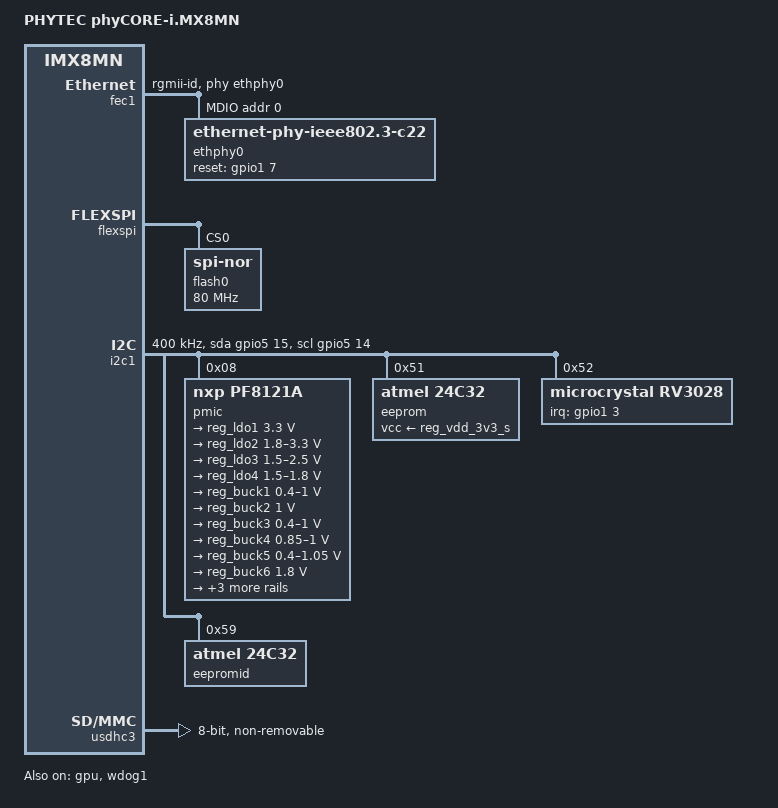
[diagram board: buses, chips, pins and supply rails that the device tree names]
// SPDX-License-Identifier: GPL-2.0
/*
 * Copyright (C) 2020 PHYTEC Messtechnik GmbH
 * Author: Teresa Remmet <t.remmet@phytec.de>
 */

#include "imx8mn.dtsi"
#include <dt-bindings/net/ti-dp83867.h>

/ {
	model = "PHYTEC phyCORE-i.MX8MN";
	compatible = "phytec,imx8mn-phycore-som", "fsl,imx8mn";

	aliases {
		rtc0 = &rv3028;
		rtc1 = &snvs_rtc;
	};

	chosen {
		stdout-path = &uart3;
	};

	rtcclkout: rv3028-clkout {
		compatible = "fixed-clock";
		clock-frequency = <32768>;
		#clock-cells = <0>;
		status = "disabled";
	};
};

&A53_0 {
	cpu-supply = <&reg_buck5>;
};

&A53_1 {
	cpu-supply = <&reg_buck5>;
};

&A53_2 {
	cpu-supply = <&reg_buck5>;
};

&A53_3 {
	cpu-supply = <&reg_buck5>;
};

/* Ethernet */
&fec1 {
	fsl,magic-packet;
	phy-mode = "rgmii-id";
	phy-handle = <&ethphy0>;
	pinctrl-names = "default";
	pinctrl-0 = <&pinctrl_fec1>;
	status = "okay";

	mdio {
		#address-cells = <1>;
		#size-cells = <0>;

		ethphy0: ethernet-phy@0 {
			compatible = "ethernet-phy-ieee802.3-c22";
			enet-phy-lane-no-swap;
			ti,clk-output-sel = <DP83867_CLK_O_SEL_OFF>;
			ti,fifo-depth = <DP83867_PHYCR_FIFO_DEPTH_4_B_NIB>;
			ti,rx-internal-delay = <DP83867_RGMIIDCTL_2_00_NS>;
			ti,tx-internal-delay = <DP83867_RGMIIDCTL_2_00_NS>;
			reg = <0>;
			reset-assert-us = <1000>;
			reset-deassert-us = <1000>;
			reset-gpios = <&gpio1 7 GPIO_ACTIVE_HIGH>;
		};
	};
};

/* SPI Flash */
&flexspi {
	pinctrl-names = "default";
	pinctrl-0 = <&pinctrl_flexspi0>;
	status = "okay";

	flash0: norflash@0 {
		compatible = "jedec,spi-nor";
		reg = <0>;
		spi-max-frequency = <80000000>;
		spi-rx-bus-width = <4>;
		spi-tx-bus-width = <1>;
		#address-cells = <1>;
		#size-cells = <1>;
	};
};

/* GPU */
&gpu {
	status = "okay";
};

/* I2C1 */
&i2c1 {
	clock-frequency = <400000>;
	pinctrl-names = "default", "gpio";
	pinctrl-0 = <&pinctrl_i2c1>;
	pinctrl-1 = <&pinctrl_i2c1_gpio>;
	scl-gpios = <&gpio5 14 (GPIO_ACTIVE_HIGH | GPIO_OPEN_DRAIN)>;
	sda-gpios = <&gpio5 15 (GPIO_ACTIVE_HIGH | GPIO_OPEN_DRAIN)>;
	status = "okay";

	pmic@8 {
		compatible = "nxp,pf8121a";
		reg = <0x08>;

		regulators {
			reg_ldo1: ldo1 {
				regulator-always-on;
				regulator-boot-on;
				regulator-max-microvolt = <3300000>;
				regulator-min-microvolt = <3300000>;
				regulator-name = "NVCC_SD1";

				regulator-state-mem {
					regulator-on-in-suspend;
				};
			};

			reg_ldo2: ldo2 {
				regulator-always-on;
				regulator-boot-on;
				regulator-max-microvolt = <3300000>;
				regulator-min-microvolt = <1800000>;
				regulator-name = "NVCC_SD2";
				vselect-en;

				regulator-state-mem {
					regulator-off-in-suspend;
				};
			};

			reg_ldo3: ldo3 {
				regulator-always-on;
				regulator-boot-on;
				regulator-max-microvolt = <2500000>;
				regulator-min-microvolt = <1500000>;
				regulator-name = "VCC_ENET_2V5";

				regulator-state-mem {
					regulator-off-in-suspend;
				};
			};

			reg_ldo4: ldo4 {
				regulator-always-on;
				regulator-boot-on;
				regulator-max-microvolt = <1800000>;
				regulator-min-microvolt = <1500000>;
				regulator-name = "VDDA_1V8";

				regulator-state-mem {
					regulator-on-in-suspend;
					regulator-suspend-max-microvolt = <1500000>;
					regulator-suspend-min-microvolt = <1500000>;
				};
			};

			reg_buck1: buck1 {
				regulator-always-on;
				regulator-boot-on;
				regulator-max-microvolt = <1000000>;
				regulator-min-microvolt = <400000>;
				regulator-name = "VDD_SOC_VDDA_PHY_0P8";

				regulator-state-mem {
					regulator-on-in-suspend;
					regulator-suspend-max-microvolt = <400000>;
					regulator-suspend-min-microvolt = <400000>;
				};
			};

			reg_buck2: buck2 {
				regulator-always-on;
				regulator-boot-on;
				regulator-max-microvolt = <1000000>;
				regulator-min-microvolt = <1000000>;
				regulator-name = "VDD_GPU_DRAM";

				regulator-state-mem {
					regulator-on-in-suspend;
					regulator-suspend-max-microvolt = <1000000>;
					regulator-suspend-min-microvolt = <1000000>;
				};
			};

			reg_buck3: buck3 {
				regulator-name = "VDD_VPU_dummy";
				regulator-max-microvolt = <1000000>;
				regulator-min-microvolt = <400000>;

				regulator-state-mem {
					regulator-off-in-suspend;
				};
			};

			reg_buck4: buck4 {
				regulator-always-on;
				regulator-boot-on;
				regulator-max-microvolt = <1000000>;
				regulator-min-microvolt = <850000>;
				regulator-name = "VDD_MIPI_0P8";

				regulator-state-mem {
					regulator-off-in-suspend;
				};
			};

			reg_buck5: buck5 {
				regulator-always-on;
				regulator-boot-on;
				regulator-max-microvolt = <1050000>;
				regulator-min-microvolt = <400000>;
				regulator-name = "VDD_ARM";

				regulator-state-mem {
					regulator-off-in-suspend;
				};
			};

			reg_buck6: buck6 {
				regulator-always-on;
				regulator-boot-on;
				regulator-max-microvolt = <1800000>;
				regulator-min-microvolt = <1800000>;
				regulator-name = "VDD_1V8";

				regulator-state-mem {
					regulator-on-in-suspend;
					regulator-suspend-max-microvolt = <1800000>;
					regulator-suspend-min-microvolt = <1800000>;
				};
			};

			reg_buck7: buck7 {
				regulator-always-on;
				regulator-boot-on;
				regulator-max-microvolt = <1100000>;
				regulator-min-microvolt = <1100000>;
				regulator-name = "NVCC_DRAM_1P1V";
			};

			reg_vsnvs: vsnvs {
				regulator-always-on;
				regulator-boot-on;
				regulator-max-microvolt = <1800000>;
				regulator-min-microvolt = <1800000>;
				regulator-name = "NVCC_SNVS_1P8";
			};

			reg_vdd_3v3_s: regulator-vdd-3v3-s {
				compatible = "regulator-fixed";
				regulator-always-on;
				regulator-boot-on;
				regulator-max-microvolt = <3300000>;
				regulator-min-microvolt = <3300000>;
				regulator-name = "VDD_3V3_S";
			};
		};
	};

	/* EEPROM */
	eeprom@51 {
		compatible = "atmel,24c32";
		pagesize = <32>;
		reg = <0x51>;
		vcc-supply = <&reg_vdd_3v3_s>;
	};

	/* RTC */
	rv3028: rtc@52 {
		compatible = "microcrystal,rv3028";
		clocks = <&rtcclkout>;
		clock-output-names = "rv3028-clkout";
		interrupts = <3 IRQ_TYPE_LEVEL_LOW>;
		interrupt-parent = <&gpio1>;
		pinctrl-names = "default";
		pinctrl-0 = <&pinctrl_rtc>;
		reg = <0x52>;
		wakeup-source;
	};

	/* EEPROM ID page */
	eepromid@59 {
		compatible = "atmel,24c32";
		pagesize = <32>;
		reg = <0x59>;
		size = <32>;
	};

	i2c1_sn65dsi83: mipitolvds@2d {
		compatible = "ti,sn65dsi83";
		enable-gpios = <&gpio1 10 GPIO_ACTIVE_LOW>;
		pinctrl-names = "default";
		pinctrl-0 = <&pinctrl_sn65dsi83>;
		reg = <0x2d>;
		status = "disabled";

		sn65dsi83_ports: ports {
		       /*
			* Setup is carrier board dependent please checkout
			* overlays/imx8mn-phyboard-polis-peb-av-010.dtbo
			* as an example.
			*/
		};
	};
};

/* eMMC */
&usdhc3 {
	assigned-clocks = <&clk IMX8MN_CLK_USDHC3_ROOT>;
	assigned-clock-rates = <400000000>;
	bus-width = <8>;
	non-removable;
	pinctrl-names = "default", "state_100mhz", "state_200mhz";
	pinctrl-0 = <&pinctrl_usdhc3>;
	pinctrl-1 = <&pinctrl_usdhc3_100mhz>;
	pinctrl-2 = <&pinctrl_usdhc3_200mhz>;
	status = "okay";
};

/* Watchdog */
&wdog1 {
	fsl,ext-reset-output;
	pinctrl-names = "default";
	pinctrl-0 = <&pinctrl_wdog>;
	status = "okay";
};

&iomuxc {
	pinctrl_fec1: fec1grp {
		fsl,pins = <
			MX8MN_IOMUXC_ENET_MDC_ENET1_MDC			0x2
			MX8MN_IOMUXC_ENET_MDIO_ENET1_MDIO		0x2
			MX8MN_IOMUXC_ENET_RD0_ENET1_RGMII_RD0		0x90
			MX8MN_IOMUXC_ENET_RD1_ENET1_RGMII_RD1		0x90
			MX8MN_IOMUXC_ENET_RD2_ENET1_RGMII_RD2		0x90
			MX8MN_IOMUXC_ENET_RD3_ENET1_RGMII_RD3		0x90
			MX8MN_IOMUXC_ENET_RXC_ENET1_RGMII_RXC		0x90
			MX8MN_IOMUXC_ENET_RX_CTL_ENET1_RGMII_RX_CTL	0x90
			MX8MN_IOMUXC_ENET_TD0_ENET1_RGMII_TD0		0x16
			MX8MN_IOMUXC_ENET_TD1_ENET1_RGMII_TD1		0x16
			MX8MN_IOMUXC_ENET_TD2_ENET1_RGMII_TD2		0x16
			MX8MN_IOMUXC_ENET_TD3_ENET1_RGMII_TD3		0x16
			MX8MN_IOMUXC_ENET_TXC_ENET1_RGMII_TXC		0x16
			MX8MN_IOMUXC_ENET_TX_CTL_ENET1_RGMII_TX_CTL	0x16
			MX8MN_IOMUXC_GPIO1_IO07_GPIO1_IO7		0x10
		>;
	};

	pinctrl_flexspi0: flexspi0grp {
		fsl,pins = <
			MX8MN_IOMUXC_NAND_ALE_QSPI_A_SCLK		0x1c2
			MX8MN_IOMUXC_NAND_CE0_B_QSPI_A_SS0_B		0x82
			MX8MN_IOMUXC_NAND_DATA00_QSPI_A_DATA0		0x82
			MX8MN_IOMUXC_NAND_DATA01_QSPI_A_DATA1		0x82
			MX8MN_IOMUXC_NAND_DATA02_QSPI_A_DATA2		0x82
			MX8MN_IOMUXC_NAND_DATA03_QSPI_A_DATA3		0x82
		>;
	};

	pinctrl_i2c1: i2c1grp {
		fsl,pins = <
			MX8MN_IOMUXC_I2C1_SDA_I2C1_SDA			0x400001c0
			MX8MN_IOMUXC_I2C1_SCL_I2C1_SCL			0x400001c0
		>;
	};

	pinctrl_i2c1_gpio: i2c1gpiogrp {
		fsl,pins = <
			MX8MN_IOMUXC_I2C1_SDA_GPIO5_IO15		0x1c0
			MX8MN_IOMUXC_I2C1_SCL_GPIO5_IO14		0x1c0
		>;
	};

	pinctrl_rtc: rtcgrp {
		fsl,pins = <
			MX8MN_IOMUXC_GPIO1_IO03_GPIO1_IO3		0x1C0
		>;
	};

	pinctrl_sn65dsi83: sn65dsi83grp {
		fsl,pins = <
			MX8MN_IOMUXC_GPIO1_IO10_GPIO1_IO10		0x0
		>;
	};

	pinctrl_usdhc3: usdhc3grp {
		fsl,pins = <
			MX8MN_IOMUXC_NAND_CLE_USDHC3_DATA7		0x1d0
			MX8MN_IOMUXC_NAND_CE1_B_USDHC3_STROBE		0x190
			MX8MN_IOMUXC_NAND_CE2_B_USDHC3_DATA5		0x1d0
			MX8MN_IOMUXC_NAND_CE3_B_USDHC3_DATA6		0x1d0
			MX8MN_IOMUXC_NAND_DATA04_USDHC3_DATA0		0x1d0
			MX8MN_IOMUXC_NAND_DATA05_USDHC3_DATA1		0x1d0
			MX8MN_IOMUXC_NAND_DATA06_USDHC3_DATA2		0x1d0
			MX8MN_IOMUXC_NAND_DATA07_USDHC3_DATA3		0x1d0
			MX8MN_IOMUXC_NAND_RE_B_USDHC3_DATA4		0x1d0
			MX8MN_IOMUXC_NAND_WE_B_USDHC3_CLK		0x190
			MX8MN_IOMUXC_NAND_WP_B_USDHC3_CMD		0x1d0
		>;
	};

	pinctrl_usdhc3_100mhz: usdhc3-100mhzgrp {
		fsl,pins = <
			MX8MN_IOMUXC_NAND_CLE_USDHC3_DATA7		0x1d4
			MX8MN_IOMUXC_NAND_CE1_B_USDHC3_STROBE		0x194
			MX8MN_IOMUXC_NAND_CE2_B_USDHC3_DATA5		0x1d4
			MX8MN_IOMUXC_NAND_CE3_B_USDHC3_DATA6		0x1d4
			MX8MN_IOMUXC_NAND_DATA04_USDHC3_DATA0		0x1d4
			MX8MN_IOMUXC_NAND_DATA05_USDHC3_DATA1		0x1d4
			MX8MN_IOMUXC_NAND_DATA06_USDHC3_DATA2		0x1d4
			MX8MN_IOMUXC_NAND_DATA07_USDHC3_DATA3		0x1d4
			MX8MN_IOMUXC_NAND_RE_B_USDHC3_DATA4		0x1d4
			MX8MN_IOMUXC_NAND_WE_B_USDHC3_CLK		0x194
			MX8MN_IOMUXC_NAND_WP_B_USDHC3_CMD		0x1d4
		>;
	};

	pinctrl_usdhc3_200mhz: usdhc3-200mhzgrp {
		fsl,pins = <
			MX8MN_IOMUXC_NAND_CLE_USDHC3_DATA7		0x1d6
			MX8MN_IOMUXC_NAND_CE1_B_USDHC3_STROBE		0x196
			MX8MN_IOMUXC_NAND_CE2_B_USDHC3_DATA5		0x1d6
			MX8MN_IOMUXC_NAND_CE3_B_USDHC3_DATA6		0x1d6
			MX8MN_IOMUXC_NAND_DATA04_USDHC3_DATA0		0x1d6
			MX8MN_IOMUXC_NAND_DATA05_USDHC3_DATA1		0x1d6
			MX8MN_IOMUXC_NAND_DATA06_USDHC3_DATA2		0x1d6
			MX8MN_IOMUXC_NAND_DATA07_USDHC3_DATA3		0x1d6
			MX8MN_IOMUXC_NAND_RE_B_USDHC3_DATA4		0x1d6
			MX8MN_IOMUXC_NAND_WE_B_USDHC3_CLK		0x196
			MX8MN_IOMUXC_NAND_WP_B_USDHC3_CMD		0x1d6
		>;
	};

	pinctrl_wdog: wdoggrp {
		fsl,pins = <
			MX8MN_IOMUXC_GPIO1_IO02_WDOG1_WDOG_B		0x26
		>;
	};
};
